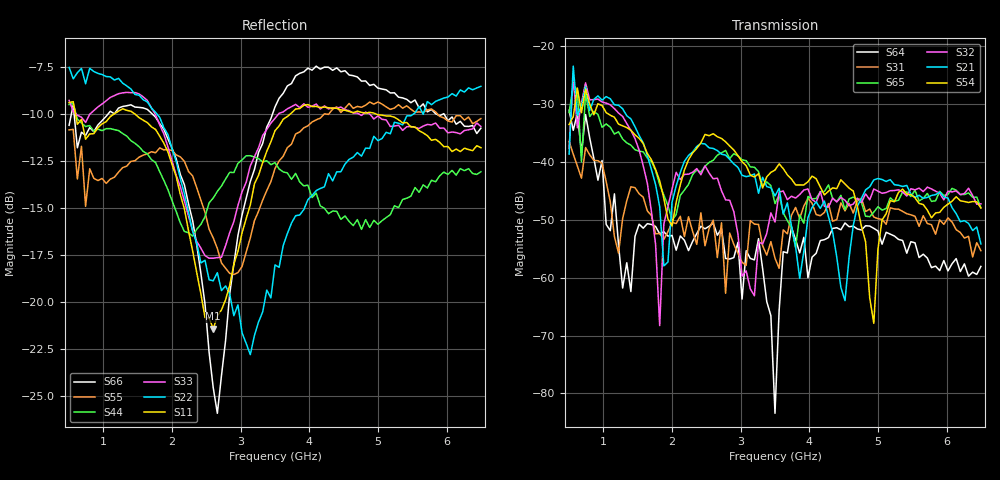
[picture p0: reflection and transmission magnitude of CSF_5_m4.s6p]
!Keysight Technologies,M9804A,MY58100912,A.14.10.03
!Date: Thursday, April 27, 2023 10:28:33
!Correction: S11(C  6-Port  )
!S12(C  6-Port  )
!S13(C  6-Port  )
!S14(C  6-Port  )
!S15(C  6-Port  )
!S16(C  6-Port  )
!S21(C  6-Port  )
!S22(C  6-Port  )
!S23(C  6-Port  )
!S24(C  6-Port  )
!S25(C  6-Port  )
!S26(C  6-Port  )
!S31(C  6-Port  )
!S32(C  6-Port  )
!S33(C  6-Port  )
!S34(C  6-Port  )
!S35(C  6-Port  )
!S36(C  6-Port  )
!S41(C  6-Port  )
!S42(C  6-Port  )
!S43(C  6-Port  )
!S44(C  6-Port  )
!S45(C  6-Port  )
!S46(C  6-Port  )
!S51(C  6-Port  )
!S52(C  6-Port  )
!S53(C  6-Port  )
!S54(C  6-Port  )
!S55(C  6-Port  )
!S56(C  6-Port  )
!S61(C  6-Port  )
!S62(C  6-Port  )
!S63(C  6-Port  )
!S64(C  6-Port  )
!S65(C  6-Port  )
!S66(C  6-Port  )
!S6P File: Measurement: :
# Hz S  RI  R 50
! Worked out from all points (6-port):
!   101 points, 500 MHz to 6.5 GHz, reference 50 ohm
!   strongest paths, dB at 500 MHz, 2 GHz, 3.5 GHz, 5 GHz, 6.5 GHz:
!     S54: -33.6, -51.1, -41.4, -55.1, -48.0
!     S21: -38.7, -47.0, -45.9, -42.9, -54.2
!     S32: -37.7, -44.7, -50.4, -45.1, -47.3
!     S65: -31.6, -50.1, -47.2, -47.8, -47.9
!     S31: -36.5, -50.5, -56.7, -49.8, -55.4
!     S64: -31.1, -52.7, -83.4, -52.0, -58.1
!   lowest |S11| = -21.4 dB at 2.6 GHz (marker M1), VSWR 1.19, Z = 42.5 + j2.28 ohm
!   |S11| at or under -10 dB: 593.9 MHz to 1.144 GHz (550.1 MHz wide, 63.3 % of centre); 1.466 GHz to 3.715 GHz (2.249 GHz wide, 86.8 % of centre); 4.987 GHz to end of sweep
